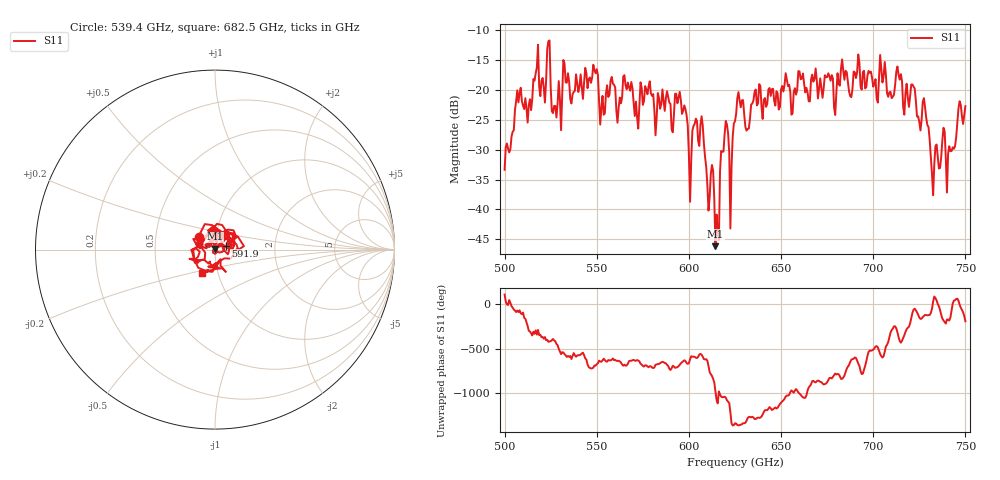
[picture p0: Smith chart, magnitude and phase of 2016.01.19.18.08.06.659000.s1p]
!Created with skrf (http://scikit-rf.org).
# GHz S RI R 50.0
!freq ReS11 ImS11
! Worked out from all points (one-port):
!   401 points, 500 GHz to 750 GHz, reference 50 ohm
!   lowest |S11| = -46.1 dB at 614.4 GHz (marker M1), VSWR 1.01, Z = 49.9 + j0.484 ohm
!   |S11| at or under -10 dB: start of sweep to end of sweep
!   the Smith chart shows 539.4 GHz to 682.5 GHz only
!   S11 on the Smith chart (normalised r, x): 539.4 GHz: 0.82, +0.11; 591.9 GHz: 1.12, +0.05; 682.5 GHz: 0.83, -0.22
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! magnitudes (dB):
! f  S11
! 500 GHz  -33.4
! 507.5 GHz  -22.1
! 513.1 GHz  -22.5
! 516.9 GHz  -17.2
! 520.6 GHz  -18.0
! 523.8 GHz  -11.9
! 526.9 GHz  -22.7
! 531.2 GHz  -20.6
! 539.4 GHz  -18.9
! 562.5 GHz  -21.3
! 565.6 GHz  -19.2
! 591.9 GHz  -24.1
! 593.8 GHz  -22.2
! 600.6 GHz  -38.7
! 607.5 GHz  -26.0
! 614.4 GHz  -46.1
! 615.6 GHz  -43.8
! 618.8 GHz  -30.3
! 623.1 GHz  -32.8
! 625 GHz  -25.2
! 656.2 GHz  -23.9
! 682.5 GHz  -16.5
! 687.5 GHz  -21.0
! 705 GHz  -18.8
! 718.8 GHz  -21.3
! 728.1 GHz  -22.9
! 732.5 GHz  -37.6
! 750 GHz  -22.7
